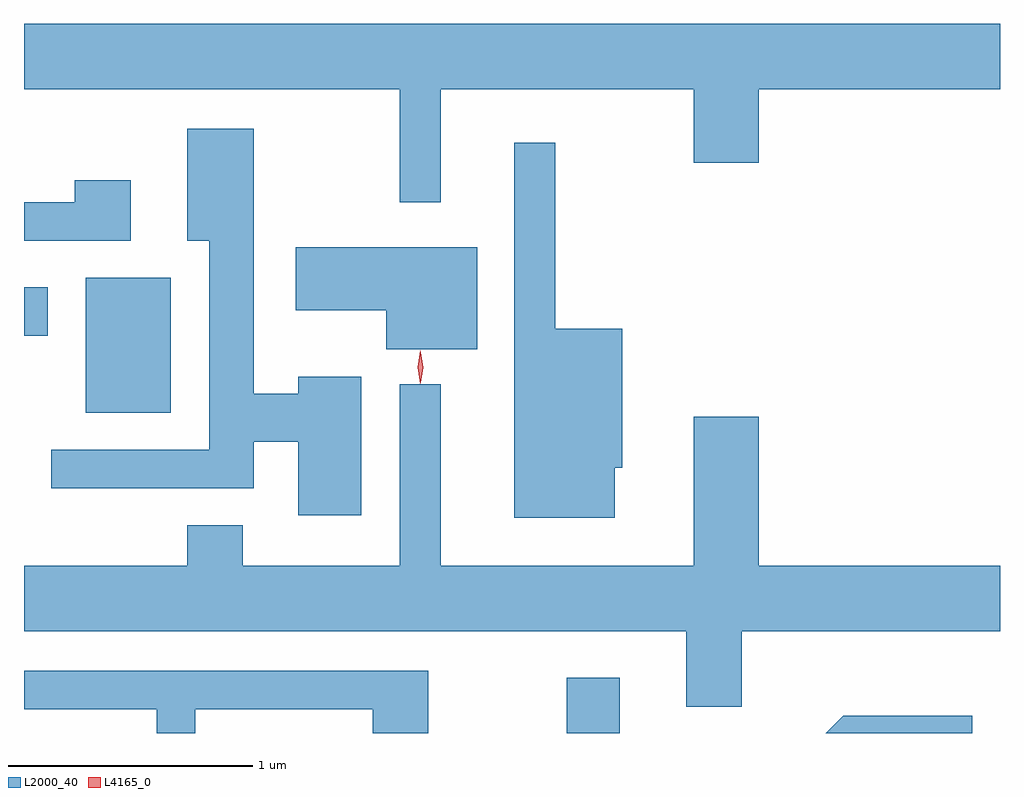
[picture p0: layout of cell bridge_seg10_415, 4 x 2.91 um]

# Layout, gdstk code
import gdstk
lib = gdstk.Library(unit=1e-6, precision=1e-09)
def R(c, l, rs):  # rectangles x0, y0, x1, y1
    for r in rs: c.add(gdstk.rectangle(r[:2], r[2:], *l))
def P(c, l, *ps):  # polygons
    for p in ps: c.add(gdstk.Polygon(p, *l))
L2000_40 = (2000, 40)
L4165_0 = (4165, 0)

bridge_seg10_415 = lib.new_cell('bridge_seg10_415')
R(bridge_seg10_415, L2000_40, [(1473.296,2086.858,1473.514,2087.084), (1471.326,2088.171,1471.674,2088.724), (1471.072,2088.486,1471.169,2088.684)])
P(bridge_seg10_415, L2000_40, [(1472.779,2089.496),(1473.816,2089.496),(1473.816,2089.196),(1474.084,2089.196),(1474.084,2089.496),(1475.072,2089.496),(1475.072,2089.764),(1471.072,2089.764),(1471.072,2089.496),(1472.611,2089.496),(1472.611,2089.033),(1472.779,2089.033)],
  [(1472.454,2088.319),(1472.196,2088.319),(1472.196,2088.249),(1472.014,2088.249),(1472.014,2089.334),(1471.741,2089.334),(1471.741,2088.876),(1471.831,2088.876),(1471.831,2088.019),(1471.183,2088.019),(1471.183,2087.861),(1472.014,2087.861),(1472.014,2088.051),(1472.196,2088.051),(1472.196,2087.751),(1472.454,2087.751)],
  [(1473.494,2087.946),(1473.524,2087.946),(1473.524,2088.514),(1473.249,2088.514),(1473.249,2089.278),(1473.081,2089.278),(1473.081,2087.741),(1473.494,2087.741)],
  [(1471.509,2089.124),(1471.281,2089.124),(1471.281,2089.034),(1471.072,2089.034),(1471.072,2088.876),(1471.509,2088.876)],
  [(1472.929,2088.849),(1472.186,2088.849),(1472.186,2088.591),(1472.556,2088.591),(1472.556,2088.431),(1472.929,2088.431)],
  [(1474.014,2087.276),(1475.072,2087.276),(1475.072,2087.544),(1474.084,2087.544),(1474.084,2088.154),(1473.816,2088.154),(1473.816,2087.544),(1472.779,2087.544),(1472.779,2088.288),(1472.611,2088.288),(1472.611,2087.544),(1471.969,2087.544),(1471.969,2087.709),(1471.741,2087.709),(1471.741,2087.544),(1471.072,2087.544),(1471.072,2087.276),(1473.786,2087.276),(1473.786,2086.966),(1474.014,2086.966)],
  [(1471.774,2086.956),(1472.501,2086.956),(1472.501,2086.858),(1472.729,2086.858),(1472.729,2087.114),(1471.072,2087.114),(1471.072,2086.956),(1471.616,2086.956),(1471.616,2086.858),(1471.774,2086.858)],
  [(1474.958,2086.929),(1474.429,2086.929),(1474.358,2086.858),(1474.958,2086.858)])
P(bridge_seg10_415, L4165_0, [(1472.695,2088.29),(1472.686,2088.358),(1472.695,2088.425),(1472.696,2088.426),(1472.696,2088.425),(1472.706,2088.358),(1472.696,2088.29),(1472.696,2088.29)],
  [(1472.698,2088.293),(1472.698,2088.294),(1472.688,2088.356),(1472.698,2088.419),(1472.698,2088.42),(1472.699,2088.419),(1472.708,2088.356),(1472.699,2088.294)])

lib.write_gds('bridge_seg10_415.gds')
